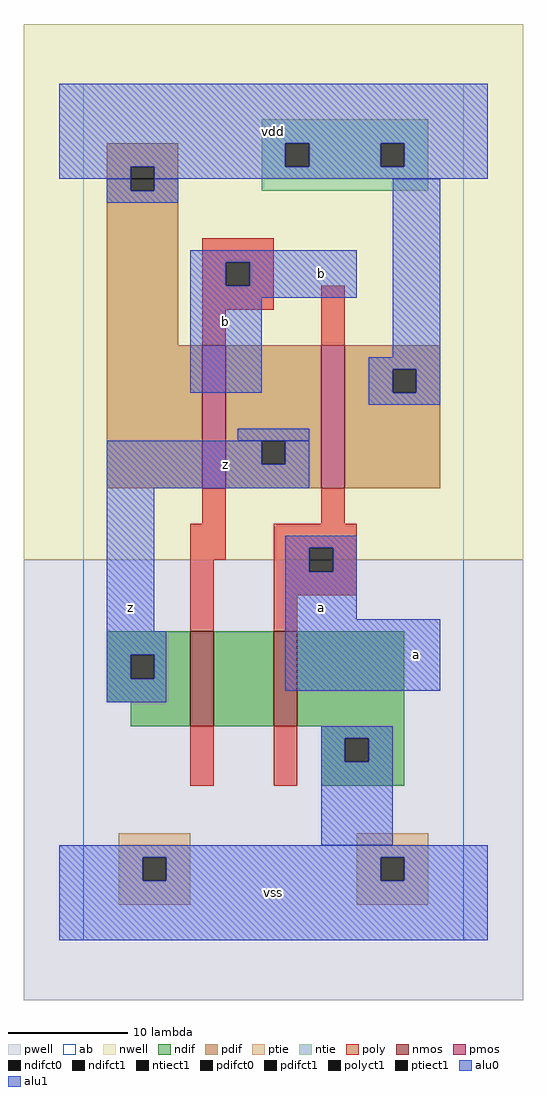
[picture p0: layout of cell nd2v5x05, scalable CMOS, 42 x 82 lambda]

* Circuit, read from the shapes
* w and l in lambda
.subckt nd2v5x05 a b vdd vss z
M1 n1 b z vss nfet w=8 l=2
M2 vss a n1 vss nfet w=8 l=2
M3 z b vdd vdd pfet w=12 l=2
M4 vdd a z vdd pfet w=12 l=2
.ends

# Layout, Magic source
magic
tech scmos
<< ab >>
rect 0 0 32 72
<< nwell >>
rect -5 32 37 77
<< pwell >>
rect -5 -5 37 32
<< poly >>
rect 10 57 16 59
rect 10 55 12 57
rect 14 55 16 57
rect 10 53 16 55
rect 10 50 12 53
rect 20 50 22 55
rect 10 35 12 38
rect 20 35 22 38
rect 9 32 12 35
rect 16 33 23 35
rect 9 26 11 32
rect 16 31 19 33
rect 21 31 23 33
rect 16 29 23 31
rect 16 26 18 29
rect 9 13 11 18
rect 16 13 18 18
<< ndif >>
rect 2 24 9 26
rect 2 22 4 24
rect 6 22 9 24
rect 2 20 9 22
rect 4 18 9 20
rect 11 18 16 26
rect 18 18 27 26
rect 20 17 27 18
rect 20 15 22 17
rect 24 15 27 17
rect 20 13 27 15
<< pdif >>
rect 2 65 8 67
rect 2 63 4 65
rect 6 63 8 65
rect 2 50 8 63
rect 2 38 10 50
rect 12 42 20 50
rect 12 40 15 42
rect 17 40 20 42
rect 12 38 20 40
rect 22 48 30 50
rect 22 46 26 48
rect 28 46 30 48
rect 22 38 30 46
<< alu1 >>
rect -2 67 34 72
rect -2 65 17 67
rect 19 65 25 67
rect 27 65 34 67
rect -2 64 4 65
rect 6 64 34 65
rect 9 57 23 58
rect 9 55 12 57
rect 14 55 23 57
rect 9 54 23 55
rect 9 46 15 54
rect 2 40 15 42
rect 17 40 19 42
rect 2 38 19 40
rect 2 26 6 38
rect 17 33 23 34
rect 17 31 19 33
rect 21 31 23 33
rect 17 27 23 31
rect 2 24 7 26
rect 2 22 4 24
rect 6 22 7 24
rect 2 20 7 22
rect 17 21 30 27
rect -2 7 34 8
rect -2 5 5 7
rect 7 5 25 7
rect 27 5 34 7
rect -2 0 34 5
<< ptie >>
rect 3 7 9 9
rect 3 5 5 7
rect 7 5 9 7
rect 3 3 9 5
rect 23 7 29 9
rect 23 5 25 7
rect 27 5 29 7
rect 23 3 29 5
<< ntie >>
rect 15 67 29 69
rect 15 65 17 67
rect 19 65 25 67
rect 27 65 29 67
rect 15 63 29 65
<< nmos >>
rect 9 18 11 26
rect 16 18 18 26
<< pmos >>
rect 10 38 12 50
rect 20 38 22 50
<< polyct1 >>
rect 12 55 14 57
rect 19 31 21 33
<< ndifct0 >>
rect 22 15 24 17
<< ndifct1 >>
rect 4 22 6 24
<< ntiect1 >>
rect 17 65 19 67
rect 25 65 27 67
<< ptiect1 >>
rect 5 5 7 7
rect 25 5 27 7
<< pdifct0 >>
rect 4 63 6 64
rect 26 46 28 48
<< pdifct1 >>
rect 4 64 6 65
rect 15 40 17 42
<< alu0 >>
rect 2 63 4 64
rect 6 63 8 64
rect 2 62 8 63
rect 26 49 30 64
rect 24 48 30 49
rect 24 46 26 48
rect 28 46 30 48
rect 24 45 30 46
rect 13 42 19 43
rect 20 17 26 18
rect 20 15 22 17
rect 24 15 26 17
rect 20 8 26 15
<< labels >>
rlabel alu1 4 28 4 28 6 z
rlabel alu1 12 40 12 40 6 z
rlabel alu1 12 52 12 52 6 b
rlabel alu1 16 4 16 4 6 vss
rlabel alu1 20 28 20 28 6 a
rlabel alu1 20 56 20 56 6 b
rlabel alu1 16 68 16 68 6 vdd
rlabel alu1 28 24 28 24 6 a
<< end >>
